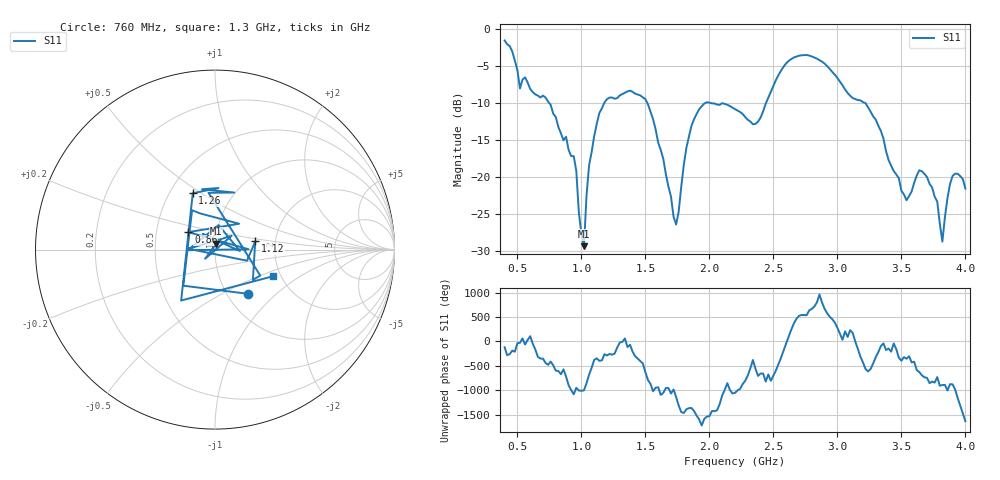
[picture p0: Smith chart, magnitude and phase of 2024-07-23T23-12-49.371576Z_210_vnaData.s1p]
!Created with skrf (http://scikit-rf.org).
# Hz S RI R 50.0
!freq ReS11 ImS11
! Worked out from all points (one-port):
!   181 points, 400 MHz to 4 GHz, reference 50 ohm
!   lowest |S11| = -29.3 dB at 1.02 GHz (marker M1), VSWR 1.07, Z = 50.6 + j3.39 ohm
!   |S11| at or under -10 dB: 1.515 GHz to 1.97 GHz (454.7 MHz wide, 26.1 % of centre); 2.009 GHz to 2.442 GHz (433.8 MHz wide, 19.5 % of centre); 3.216 GHz to end of sweep (the widest 3 of 4)
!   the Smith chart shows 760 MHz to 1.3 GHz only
!   S11 on the Smith chart (normalised r, x): 760 MHz: 1.24, -0.68; 860 MHz: 0.73, +0.15; 1.12 GHz: 1.57, +0.15; 1.26 GHz: 0.65, +0.46; 1.3 GHz: 1.82, -0.62
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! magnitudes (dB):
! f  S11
! 400 MHz  -1.6
! 520 MHz  -8.1
! 760 MHz  -10.3
! 860 MHz  -15.0
! 940 MHz  -17.2
! 1.02 GHz  -29.3
! 1.06 GHz  -18.4
! 1.12 GHz  -12.8
! 1.26 GHz  -9.4
! 1.3 GHz  -9.0
! 1.5 GHz  -9.5
! 1.64 GHz  -17.6
! 1.72 GHz  -25.3
! 1.76 GHz  -24.7
! 1.82 GHz  -16.1
! 1.92 GHz  -10.8
! 2.2 GHz  -10.8
! 2.36 GHz  -12.8
! 2.66 GHz  -3.9
! 2.88 GHz  -4.4
! 3.1 GHz  -9.0
! 3.3 GHz  -12.3
! 3.56 GHz  -22.6
! 3.7 GHz  -20.0
! 3.78 GHz  -23.3
! 3.82 GHz  -28.7
! 3.9 GHz  -19.8
! 4 GHz  -21.6
